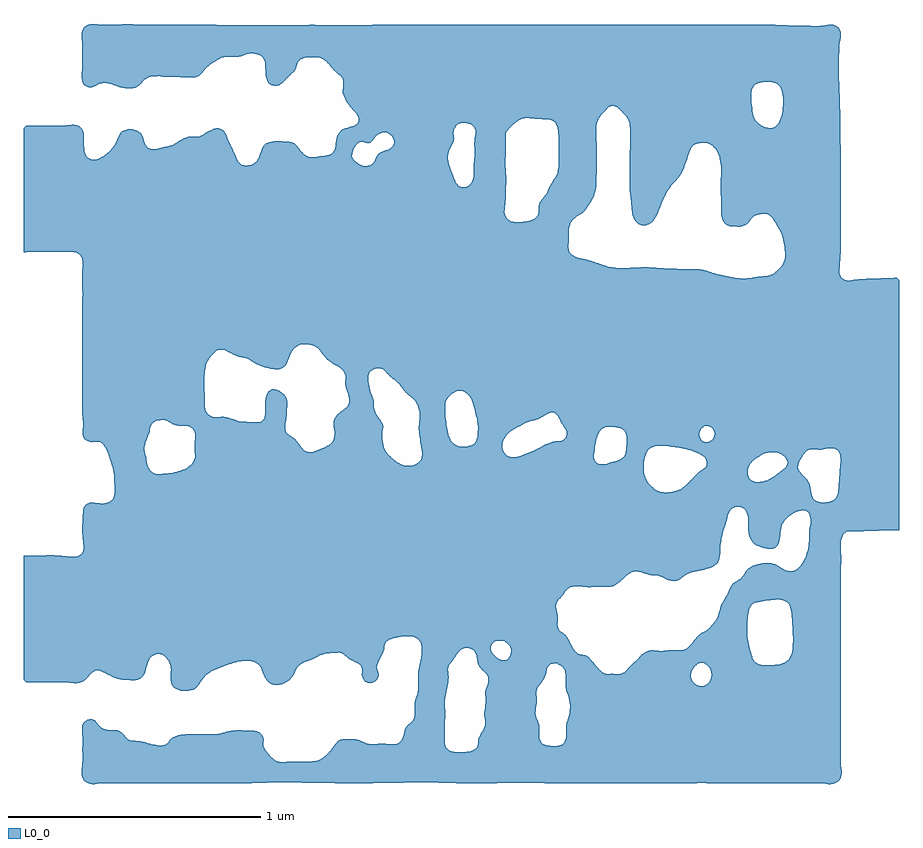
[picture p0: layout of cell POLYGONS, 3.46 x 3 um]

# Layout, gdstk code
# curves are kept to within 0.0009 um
import gdstk
lib = gdstk.Library(unit=1e-6, precision=1e-09)
def R(c, l, rs):  # rectangles x0, y0, x1, y1
    for r in rs: c.add(gdstk.rectangle(r[:2], r[2:], *l))
def P(c, l, *ps):  # polygons
    for p in ps: c.add(gdstk.Polygon(p, *l))
L0_0 = (0, 0)

polygons = lib.new_cell('POLYGONS')
R(polygons, L0_0, [(-1.03,-0.8,-0.84,-0.25), (-0.84,-0.8,-0.69,-0.25), (-0.69,-0.8,-0.51,-0.25), (-0.51,-0.8,-0.369,-0.25), (-0.369,-0.8,-0.221,-0.25), (-0.221,-0.8,-0.05,-0.25), (-0.05,-0.8,0.08,-0.25), (0.08,-0.8,0.25,-0.25), (-0.05,-0.25,0.08,-0.17), (0.25,-0.25,0.385,-0.21), (-1.39,0.07,-1.22,0.62), (-1.22,0.07,-1.03,0.62), (-1.499,0.62,-1.39,0.76), (-1.39,0.62,-1.22,0.76), (-1.22,0.62,-1.03,0.76), (-1.03,0.62,-0.84,0.76), (-0.84,0.62,-0.69,0.76), (-0.69,0.62,-0.51,0.76), (-0.51,0.62,-0.369,0.76), (-0.369,0.62,-0.221,0.76), (-0.221,0.62,-0.05,0.76), (-0.05,0.62,0.08,0.76)])
P(polygons, L0_0, [(-1.499,1.476),(-1.5,1.474),(-1.501,1.47),(-1.502,1.46),(-1.502,1.45),(-1.501,1.44),(-1.5,1.434),(-1.5,1.43),(-1.499,1.425)],
  [(-1.499,1.382),(-1.499,1.38),(-1.5,1.37),(-1.5,1.32),(-1.501,1.31),(-1.501,1.29),(-1.5,1.279),(-1.499,1.276)],
  [(-1.72,0.599),(-1.71,0.6),(-1.6,0.6),(-1.59,0.599),(-1.53,0.6),(-1.52,0.597),(-1.51,0.592),(-1.502,0.58),(-1.499,0.571),(-1.499,1.085),(-1.51,1.097),(-1.515,1.1),(-1.53,1.104),(-1.59,1.099),(-1.72,1.1),(-1.73,1.09),(-1.73,0.6)],
  [(-1.499,0.524),(-1.499,0.52),(-1.5,0.51),(-1.5,0.508),(-1.5,0.5),(-1.5,0.49),(-1.5,0.486),(-1.5,0.48),(-1.499,0.472)],
  [(-1.5,0.05),(-1.5,-0.021),(-1.499,-0.03),(-1.499,-0.032),(-1.499,0.29),(-1.499,0.27),(-1.5,0.26)],
  [(-1.499,-0.48),(-1.499,-0.48),(-1.5,-0.49),(-1.5,-0.5),(-1.499,-0.51),(-1.499,-0.51)],
  [(-1.72,-1.1),(-1.58,-1.099),(-1.52,-1.104),(-1.499,-1.098),(-1.499,-0.589),(-1.512,-0.6),(-1.52,-0.603),(-1.53,-0.604),(-1.61,-0.598),(-1.73,-0.6),(-1.73,-1.09)],
  [(-1.499,-1.275),(-1.5,-1.279),(-1.5,-1.28),(-1.5,-1.29),(-1.5,-1.293),(-1.5,-1.3),(-1.499,-1.303)],
  [(-1.499,-1.427),(-1.499,-1.43),(-1.5,-1.434),(-1.501,-1.44),(-1.502,-1.45),(-1.502,-1.46),(-1.501,-1.47),(-1.5,-1.473),(-1.499,-1.475)],
  [(-1.46,1.252),(-1.45,1.255),(-1.43,1.266),(-1.41,1.269),(-1.39,1.266),(-1.39,1.499),(-1.42,1.499),(-1.45,1.502),(-1.47,1.501),(-1.48,1.498),(-1.49,1.492),(-1.498,1.48),(-1.499,1.476),(-1.499,1.276),(-1.498,1.27),(-1.49,1.259),(-1.48,1.253),(-1.47,1.251)],
  [(-1.39,1),(-1.41,0.983),(-1.43,0.971),(-1.44,0.967),(-1.45,0.965),(-1.46,0.965),(-1.472,0.97),(-1.48,0.976),(-1.488,0.99),(-1.491,1),(-1.493,1.02),(-1.493,1.06),(-1.494,1.07),(-1.499,1.085),(-1.499,0.76),(-1.39,0.76)],
  [(-1.39,0.62),(-1.499,0.62),(-1.498,0.56),(-1.499,0.53),(-1.498,0.44),(-1.499,0.42),(-1.499,0.07),(-1.39,0.07)],
  [(-1.399,-0.19),(-1.39,-0.215),(-1.39,0.07),(-1.499,0.07),(-1.499,-0.04),(-1.496,-0.07),(-1.496,-0.09),(-1.498,-0.11),(-1.495,-0.13),(-1.489,-0.14),(-1.48,-0.146),(-1.47,-0.15),(-1.46,-0.151),(-1.44,-0.149),(-1.43,-0.15),(-1.42,-0.156),(-1.41,-0.168)],
  [(-1.39,-0.386),(-1.4,-0.391),(-1.42,-0.394),(-1.46,-0.389),(-1.47,-0.391),(-1.48,-0.395),(-1.487,-0.4),(-1.493,-0.41),(-1.497,-0.44),(-1.499,-0.48),(-1.499,-0.51),(-1.494,-0.56),(-1.495,-0.58),(-1.499,-0.589),(-1.499,-0.8),(-1.39,-0.8)],
  [(-1.49,-1.092),(-1.477,-1.08),(-1.46,-1.061),(-1.45,-1.055),(-1.44,-1.053),(-1.42,-1.058),(-1.39,-1.073),(-1.39,-0.8),(-1.499,-0.8),(-1.499,-1.098)],
  [(-1.45,-1.502),(-1.42,-1.499),(-1.39,-1.499),(-1.39,-1.289),(-1.41,-1.286),(-1.42,-1.282),(-1.43,-1.274),(-1.44,-1.261),(-1.45,-1.251),(-1.46,-1.247),(-1.47,-1.247),(-1.48,-1.249),(-1.49,-1.256),(-1.494,-1.26),(-1.499,-1.27),(-1.498,-1.32),(-1.499,-1.475),(-1.498,-1.48),(-1.491,-1.49),(-1.48,-1.498),(-1.47,-1.501)],
  [(-1.3,1.249),(-1.293,1.25),(-1.28,1.255),(-1.27,1.263),(-1.255,1.28),(-1.24,1.29),(-1.23,1.294),(-1.22,1.295),(-1.22,1.5),(-1.34,1.501),(-1.39,1.499),(-1.39,1.266),(-1.36,1.255),(-1.34,1.25),(-1.31,1.248)],
  [(-1.22,1.007),(-1.23,1.008),(-1.235,1.01),(-1.247,1.02),(-1.25,1.024),(-1.256,1.04),(-1.261,1.06),(-1.267,1.07),(-1.281,1.08),(-1.3,1.085),(-1.31,1.086),(-1.32,1.085),(-1.33,1.083),(-1.34,1.078),(-1.348,1.07),(-1.367,1.03),(-1.373,1.02),(-1.39,1),(-1.39,0.76),(-1.22,0.76)],
  [(-1.253,-0.17),(-1.249,-0.15),(-1.233,-0.11),(-1.23,-0.09),(-1.225,-0.08),(-1.22,-0.075),(-1.22,0.07),(-1.39,0.07),(-1.39,-0.18),(-1.253,-0.18)],
  [(-1.22,-0.272),(-1.23,-0.264),(-1.239,-0.25),(-1.242,-0.24),(-1.253,-0.18),(-1.39,-0.18),(-1.39,-0.215),(-1.374,-0.27),(-1.37,-0.34),(-1.372,-0.36),(-1.375,-0.37),(-1.38,-0.378),(-1.39,-0.386),(-1.39,-0.8),(-1.22,-0.8)],
  [(-1.29,-1.091),(-1.28,-1.09),(-1.27,-1.086),(-1.26,-1.077),(-1.255,-1.07),(-1.251,-1.06),(-1.24,-1.02),(-1.23,-1.003),(-1.22,-0.995),(-1.22,-0.8),(-1.39,-0.8),(-1.39,-1.073),(-1.37,-1.083),(-1.35,-1.088),(-1.3,-1.092)],
  [(-1.32,-1.5),(-1.22,-1.499),(-1.22,-1.346),(-1.26,-1.335),(-1.3,-1.332),(-1.31,-1.33),(-1.32,-1.325),(-1.33,-1.315),(-1.34,-1.302),(-1.35,-1.294),(-1.36,-1.29),(-1.39,-1.289),(-1.39,-1.499)],
  [(-1.2,1.296),(-1.17,1.293),(-1.12,1.293),(-1.06,1.29),(-1.05,1.291),(-1.04,1.295),(-1.03,1.304),(-1.03,1.499),(-1.04,1.5),(-1.22,1.5),(-1.22,1.295)],
  [(-1.03,1.06),(-1.04,1.057),(-1.05,1.056),(-1.07,1.057),(-1.08,1.056),(-1.1,1.049),(-1.14,1.024),(-1.194,1.01),(-1.21,1.007),(-1.22,1.007),(-1.22,0.76),(-1.03,0.76)],
  [(-1.21,-0.068),(-1.2,-0.065),(-1.18,-0.063),(-1.17,-0.065),(-1.16,-0.069),(-1.141,-0.08),(-1.13,-0.084),(-1.12,-0.086),(-1.08,-0.087),(-1.07,-0.091),(-1.06,-0.101),(-1.055,-0.11),(-1.053,-0.12),(-1.053,-0.14),(-1.055,-0.16),(-1.053,-0.21),(-1.06,-0.23),(-1.07,-0.242),(-1.09,-0.255),(-1.11,-0.263),(-1.13,-0.269),(-1.17,-0.276),(-1.2,-0.277),(-1.21,-0.276),(-1.22,-0.272),(-1.22,-0.8),(-1.03,-0.8),(-1.03,0.07),(-1.22,0.07),(-1.22,-0.075)],
  [(-1.208,-0.99),(-1.2,-0.988),(-1.19,-0.989),(-1.18,-0.992),(-1.17,-1),(-1.156,-1.02),(-1.149,-1.04),(-1.148,-1.05),(-1.15,-1.07),(-1.15,-1.09),(-1.145,-1.11),(-1.138,-1.12),(-1.13,-1.126),(-1.12,-1.13),(-1.11,-1.133),(-1.1,-1.134),(-1.07,-1.132),(-1.06,-1.129),(-1.047,-1.12),(-1.038,-1.11),(-1.03,-1.098),(-1.03,-0.8),(-1.22,-0.8),(-1.22,-0.995)],
  [(-1.03,-1.305),(-1.09,-1.306),(-1.12,-1.31),(-1.14,-1.317),(-1.154,-1.33),(-1.162,-1.34),(-1.17,-1.346),(-1.18,-1.349),(-1.19,-1.35),(-1.22,-1.346),(-1.22,-1.499),(-1.03,-1.5)],
  [(-1.025,1.31),(-1.008,1.33),(-1,1.337),(-0.98,1.351),(-0.95,1.368),(-0.93,1.373),(-0.91,1.372),(-0.88,1.373),(-0.87,1.375),(-0.85,1.383),(-0.84,1.385),(-0.84,1.497),(-1.03,1.499),(-1.03,1.304)],
  [(-0.84,0.943),(-0.85,0.942),(-0.86,0.943),(-0.87,0.946),(-0.884,0.96),(-0.897,0.99),(-0.917,1.03),(-0.928,1.06),(-0.94,1.08),(-0.95,1.086),(-0.96,1.089),(-0.97,1.089),(-0.98,1.087),(-1,1.078),(-1.03,1.06),(-1.03,0.76),(-0.84,0.76)],
  [(-1.016,0.09),(-1.015,0.13),(-1.01,0.155),(-1,0.176),(-0.98,0.201),(-0.97,0.21),(-0.96,0.214),(-0.95,0.215),(-0.94,0.214),(-0.89,0.19),(-0.87,0.184),(-0.85,0.181),(-0.84,0.176),(-0.84,0.62),(-1.03,0.62),(-1.03,0.07),(-1.016,0.07)],
  [(-0.84,-0.072),(-0.86,-0.071),(-0.88,-0.068),(-0.93,-0.052),(-0.94,-0.051),(-0.97,-0.053),(-0.98,-0.052),(-0.99,-0.049),(-1,-0.042),(-1.01,-0.028),(-1.015,-0.01),(-1.016,0.07),(-1.03,0.07),(-1.03,-0.25),(-0.84,-0.25)],
  [(-1.025,-1.09),(-1.008,-1.07),(-0.99,-1.057),(-0.976,-1.05),(-0.93,-1.032),(-0.88,-1.017),(-0.85,-1.014),(-0.84,-1.015),(-0.84,-0.8),(-1.03,-0.8),(-1.03,-1.098)],
  [(-0.97,-1.5),(-0.84,-1.499),(-0.84,-1.291),(-0.89,-1.29),(-0.91,-1.292),(-0.93,-1.296),(-0.95,-1.302),(-0.97,-1.305),(-1.03,-1.305),(-1.03,-1.5)],
  [(-0.82,1.385),(-0.8,1.38),(-0.79,1.374),(-0.779,1.36),(-0.776,1.35),(-0.774,1.31),(-0.77,1.285),(-0.76,1.266),(-0.75,1.259),(-0.74,1.257),(-0.73,1.257),(-0.72,1.26),(-0.71,1.267),(-0.69,1.287),(-0.69,1.497),(-0.84,1.497),(-0.84,1.385),(-0.83,1.386)],
  [(-0.69,1.036),(-0.73,1.039),(-0.75,1.037),(-0.76,1.035),(-0.77,1.031),(-0.78,1.022),(-0.787,1.01),(-0.803,0.97),(-0.81,0.96),(-0.821,0.95),(-0.84,0.943),(-0.84,0.76),(-0.69,0.76)],
  [(-0.72,0.138),(-0.7,0.148),(-0.69,0.162),(-0.69,0.62),(-0.84,0.62),(-0.84,0.176),(-0.82,0.163),(-0.79,0.149),(-0.77,0.143),(-0.74,0.137)],
  [(-0.69,-0.115),(-0.694,-0.11),(-0.697,-0.1),(-0.697,-0.09),(-0.691,-0.04),(-0.69,0.02),(-0.7,0.036),(-0.72,0.052),(-0.74,0.059),(-0.75,0.058),(-0.76,0.051),(-0.768,0.04),(-0.772,0.03),(-0.774,0.02),(-0.775,-0.03),(-0.777,-0.05),(-0.781,-0.06),(-0.79,-0.068),(-0.8,-0.072),(-0.81,-0.073),(-0.84,-0.072),(-0.84,-0.25),(-0.69,-0.25)],
  [(-0.72,-1.11),(-0.71,-1.107),(-0.69,-1.098),(-0.69,-0.8),(-0.84,-0.8),(-0.84,-1.015),(-0.82,-1.019),(-0.81,-1.024),(-0.8,-1.032),(-0.79,-1.047),(-0.777,-1.08),(-0.77,-1.091),(-0.76,-1.101),(-0.742,-1.11),(-0.73,-1.111)],
  [(-0.83,-1.499),(-0.74,-1.495),(-0.69,-1.495),(-0.69,-1.415),(-0.7,-1.416),(-0.72,-1.415),(-0.734,-1.41),(-0.75,-1.398),(-0.78,-1.36),(-0.783,-1.35),(-0.782,-1.33),(-0.784,-1.32),(-0.79,-1.307),(-0.8,-1.298),(-0.81,-1.294),(-0.82,-1.292),(-0.84,-1.291),(-0.84,-1.499)],
  [(-0.687,1.29),(-0.66,1.318),(-0.654,1.33),(-0.648,1.35),(-0.639,1.36),(-0.62,1.368),(-0.6,1.371),(-0.57,1.371),(-0.56,1.369),(-0.54,1.358),(-0.52,1.339),(-0.51,1.327),(-0.51,1.498),(-0.6,1.499),(-0.69,1.497),(-0.69,1.287)],
  [(-0.57,0.978),(-0.59,0.975),(-0.6,0.976),(-0.611,0.98),(-0.625,0.99),(-0.66,1.029),(-0.67,1.034),(-0.68,1.036),(-0.69,1.036),(-0.69,0.76),(-0.51,0.76),(-0.51,0.992),(-0.52,0.986),(-0.53,0.983)],
  [(-0.679,0.19),(-0.669,0.21),(-0.66,0.222),(-0.65,0.229),(-0.64,0.234),(-0.63,0.236),(-0.61,0.237),(-0.59,0.233),(-0.57,0.223),(-0.56,0.213),(-0.535,0.18),(-0.53,0.175),(-0.51,0.161),(-0.51,0.62),(-0.69,0.62),(-0.69,0.162)],
  [(-0.69,-0.02),(-0.689,-0.01),(-0.688,0),(-0.688,0.01),(-0.69,0.018),(-0.69,-0.022)],
  [(-0.51,-0.151),(-0.52,-0.161),(-0.538,-0.17),(-0.58,-0.187),(-0.59,-0.19),(-0.6,-0.191),(-0.61,-0.189),(-0.625,-0.18),(-0.66,-0.138),(-0.67,-0.129),(-0.685,-0.12),(-0.69,-0.115),(-0.69,-0.25),(-0.51,-0.25)],
  [(-0.68,-1.091),(-0.67,-1.08),(-0.664,-1.07),(-0.656,-1.05),(-0.65,-1.04),(-0.64,-1.03),(-0.62,-1.019),(-0.594,-1.01),(-0.56,-0.994),(-0.54,-0.988),(-0.51,-0.984),(-0.51,-0.8),(-0.69,-0.8),(-0.69,-1.098)],
  [(-0.51,-1.36),(-0.517,-1.37),(-0.536,-1.39),(-0.549,-1.4),(-0.57,-1.41),(-0.6,-1.414),(-0.69,-1.415),(-0.69,-1.495),(-0.63,-1.497),(-0.51,-1.498)],
  [(-0.457,1.2),(-0.444,1.18),(-0.417,1.15),(-0.41,1.14),(-0.407,1.13),(-0.407,1.12),(-0.411,1.11),(-0.42,1.102),(-0.47,1.085),(-0.477,1.08),(-0.486,1.07),(-0.491,1.06),(-0.494,1.05),(-0.5,1.01),(-0.504,1),(-0.51,0.992),(-0.51,0.98),(-0.433,0.98),(-0.43,1),(-0.42,1.019),(-0.41,1.03),(-0.4,1.036),(-0.39,1.037),(-0.369,1.03),(-0.369,1.498),(-0.51,1.498),(-0.51,1.327),(-0.5,1.315),(-0.48,1.299),(-0.47,1.286),(-0.467,1.27),(-0.469,1.23),(-0.466,1.22)],
  [(-0.369,0.941),(-0.376,0.94),(-0.39,0.941),(-0.409,0.95),(-0.422,0.96),(-0.43,0.97),(-0.433,0.98),(-0.51,0.98),(-0.51,0.76),(-0.369,0.76)],
  [(-0.46,0.08),(-0.456,0.06),(-0.445,0.03),(-0.443,0.02),(-0.443,0.01),(-0.446,0),(-0.452,-0.01),(-0.49,-0.04),(-0.502,-0.06),(-0.505,-0.08),(-0.501,-0.11),(-0.501,-0.12),(-0.504,-0.14),(-0.51,-0.151),(-0.51,-0.25),(-0.369,-0.25),(-0.369,0.62),(-0.51,0.62),(-0.51,0.161),(-0.48,0.143),(-0.466,0.13),(-0.46,0.118),(-0.458,0.11)],
  [(-0.49,-0.984),(-0.48,-0.984),(-0.47,-0.987),(-0.44,-1.01),(-0.41,-1.024),(-0.401,-1.03),(-0.394,-1.04),(-0.392,-1.05),(-0.394,-1.07),(-0.39,-1.083),(-0.38,-1.097),(-0.369,-1.102),(-0.369,-0.8),(-0.51,-0.8),(-0.51,-0.984)],
  [(-0.4,-1.499),(-0.369,-1.499),(-0.369,-1.343),(-0.402,-1.33),(-0.43,-1.325),(-0.47,-1.326),(-0.48,-1.328),(-0.49,-1.333),(-0.51,-1.36),(-0.51,-1.498),(-0.5,-1.499)],
  [(-0.221,1.5),(-0.369,1.498),(-0.369,1.21),(-0.221,1.21)],
  [(-0.343,0.96),(-0.35,0.95),(-0.36,0.944),(-0.369,0.941),(-0.369,0.76),(-0.221,0.76),(-0.221,1.21),(-0.369,1.21),(-0.369,1.03),(-0.36,1.032),(-0.352,1.04),(-0.34,1.057),(-0.33,1.066),(-0.32,1.071),(-0.31,1.074),(-0.3,1.074),(-0.29,1.07),(-0.276,1.06),(-0.269,1.05),(-0.266,1.04),(-0.266,1.03),(-0.27,1.02),(-0.279,1.01),(-0.29,1.005),(-0.31,1),(-0.32,0.996),(-0.328,0.99),(-0.335,0.98)],
  [(-0.36,0.129),(-0.35,0.136),(-0.341,0.14),(-0.33,0.142),(-0.32,0.141),(-0.31,0.137),(-0.28,0.107),(-0.257,0.09),(-0.247,0.08),(-0.221,0.046),(-0.221,0.62),(-0.369,0.62),(-0.369,0.11),(-0.366,0.12)],
  [(-0.221,-0.244),(-0.23,-0.242),(-0.25,-0.233),(-0.268,-0.22),(-0.29,-0.2),(-0.304,-0.18),(-0.308,-0.17),(-0.313,-0.14),(-0.313,-0.11),(-0.31,-0.09),(-0.312,-0.08),(-0.317,-0.07),(-0.33,-0.052),(-0.34,-0.034),(-0.346,-0.01),(-0.346,0.01),(-0.363,0.06),(-0.369,0.099),(-0.369,-0.25),(-0.221,-0.25)],
  [(-0.35,-1.101),(-0.34,-1.095),(-0.335,-1.09),(-0.33,-1.081),(-0.328,-1.07),(-0.335,-1.04),(-0.333,-1.03),(-0.33,-1.02),(-0.309,-0.98),(-0.306,-0.97),(-0.303,-0.95),(-0.3,-0.944),(-0.29,-0.934),(-0.28,-0.929),(-0.26,-0.923),(-0.24,-0.919),(-0.221,-0.918),(-0.221,-0.8),(-0.369,-0.8),(-0.369,-1.102),(-0.36,-1.103)],
  [(-0.36,-1.499),(-0.221,-1.496),(-0.221,-1.28),(-0.23,-1.314),(-0.236,-1.33),(-0.25,-1.341),(-0.26,-1.344),(-0.27,-1.345),(-0.31,-1.342),(-0.34,-1.344),(-0.369,-1.343),(-0.369,-1.499)],
  [(-0.05,1.5),(-0.06,1.5),(-0.07,1.5),(-0.08,1.5),(-0.09,1.5),(-0.1,1.5),(-0.11,1.5),(-0.12,1.5),(-0.13,1.5),(-0.14,1.5),(-0.15,1.5),(-0.16,1.5),(-0.17,1.5),(-0.18,1.5),(-0.19,1.5),(-0.2,1.5),(-0.21,1.5),(-0.22,1.5),(-0.221,1.5),(-0.221,1.21),(-0.05,1.21)],
  [(-0.055,0.98),(-0.053,0.99),(-0.05,0.999),(-0.05,1.21),(-0.221,1.21),(-0.221,0.97),(-0.055,0.97)],
  [(-0.05,0.948),(-0.051,0.95),(-0.053,0.96),(-0.055,0.97),(-0.221,0.97),(-0.221,0.76),(-0.05,0.76)],
  [(-0.166,-0.04),(-0.168,-0.09),(-0.167,-0.12),(-0.156,-0.19),(-0.157,-0.21),(-0.16,-0.22),(-0.17,-0.232),(-0.19,-0.242),(-0.21,-0.245),(-0.221,-0.244),(-0.221,-0.25),(-0.05,-0.25),(-0.05,-0.128),(-0.057,-0.1),(-0.064,-0.05),(-0.065,-0.03),(-0.065,0),(-0.063,0.01),(-0.05,0.029),(-0.05,0.62),(-0.221,0.62),(-0.221,0.046),(-0.19,0.02),(-0.18,0.009),(-0.174,0),(-0.17,-0.01),(-0.166,-0.03)],
  [(-0.067,-1.27),(-0.065,-1.24),(-0.066,-1.17),(-0.065,-1.16),(-0.056,-1.12),(-0.051,-1.08),(-0.054,-1.05),(-0.053,-1.04),(-0.05,-1.035),(-0.05,-0.8),(-0.221,-0.8),(-0.221,-0.918),(-0.2,-0.918),(-0.18,-0.923),(-0.17,-0.93),(-0.163,-0.94),(-0.16,-0.946),(-0.157,-0.96),(-0.159,-1),(-0.169,-1.05),(-0.171,-1.07),(-0.17,-1.123),(-0.175,-1.15),(-0.18,-1.163),(-0.184,-1.18),(-0.185,-1.23),(-0.19,-1.25),(-0.2,-1.26),(-0.213,-1.27),(-0.221,-1.28),(-0.067,-1.28)],
  [(-0.05,-1.368),(-0.059,-1.36),(-0.064,-1.35),(-0.066,-1.34),(-0.067,-1.28),(-0.221,-1.28),(-0.221,-1.496),(-0.1,-1.496),(-0.05,-1.498)],
  [(0.08,1.499),(-0.05,1.5),(-0.05,1.21),(0.08,1.21)],
  [(-0.045,1.01),(-0.03,1.04),(-0.029,1.05),(-0.032,1.07),(-0.031,1.08),(-0.027,1.09),(-0.02,1.101),(-0.01,1.108),(0,1.111),(0.022,1.11),(0.04,1.104),(0.045,1.1),(0.053,1.09),(0.056,1.08),(0.057,1.07),(0.053,1.05),(0.051,1.03),(0.052,0.98),(0.049,0.95),(0.049,0.91),(0.046,0.89),(0.043,0.88),(0.037,0.87),(0.024,0.86),(0.01,0.856),(0,0.856),(-0.01,0.861),(-0.02,0.872),(-0.024,0.88),(-0.05,0.948),(-0.05,0.76),(0.08,0.76),(0.08,1.21),(-0.05,1.21),(-0.05,0.999)],
  [(-0.04,0.038),(-0.02,0.05),(-0.01,0.052),(0,0.052),(0.01,0.049),(0.02,0.043),(0.03,0.033),(0.043,0.01),(0.052,-0.02),(0.062,-0.06),(0.065,-0.08),(0.066,-0.1),(0.064,-0.13),(0.06,-0.144),(0.057,-0.15),(0.047,-0.16),(0.04,-0.164),(0.02,-0.168),(0,-0.168),(-0.01,-0.167),(-0.02,-0.164),(-0.03,-0.158),(-0.039,-0.15),(-0.05,-0.128),(-0.05,-0.17),(0.08,-0.17),(0.08,0.62),(-0.05,0.62),(-0.05,0.029)],
  [(0.053,-0.98),(0.058,-0.99),(0.061,-1),(0.062,-1.01),(0.067,-1.03),(0.072,-1.04),(0.08,-1.049),(0.08,-0.8),(-0.05,-0.8),(-0.05,-1.035),(-0.048,-1.03),(-0.011,-0.98),(0,-0.969),(0.01,-0.965),(0.02,-0.964),(0.03,-0.965),(0.042,-0.97),(0.05,-0.976)],
  [(0.03,-1.499),(0.08,-1.499),(0.08,-1.298),(0.069,-1.32),(0.064,-1.35),(0.06,-1.358),(0.043,-1.37),(0.03,-1.374),(-0.01,-1.377),(-0.03,-1.375),(-0.05,-1.368),(-0.05,-1.498)],
  [(0.25,1.5),(0.08,1.499),(0.08,1.21),(0.25,1.21)],
  [(0.17,0.77),(0.173,0.79),(0.174,0.85),(0.176,0.87),(0.176,0.9),(0.173,0.94),(0.173,0.97),(0.175,1),(0.174,1.05),(0.175,1.07),(0.179,1.08),(0.188,1.09),(0.22,1.118),(0.23,1.124),(0.24,1.128),(0.25,1.13),(0.25,1.21),(0.08,1.21),(0.08,0.76),(0.169,0.76)],
  [(0.25,0.721),(0.24,0.719),(0.21,0.719),(0.2,0.721),(0.19,0.725),(0.182,0.73),(0.174,0.74),(0.17,0.75),(0.169,0.76),(0.08,0.76),(0.08,0.62),(0.25,0.62)],
  [(0.161,-0.16),(0.163,-0.15),(0.167,-0.14),(0.18,-0.12),(0.19,-0.11),(0.22,-0.092),(0.25,-0.077),(0.25,0.62),(0.08,0.62),(0.08,-0.17),(0.161,-0.17)],
  [(0.2,-0.211),(0.19,-0.209),(0.175,-0.2),(0.167,-0.19),(0.163,-0.18),(0.161,-0.17),(0.08,-0.17),(0.08,-0.25),(0.25,-0.25),(0.25,-0.199),(0.22,-0.209)],
  [(0.09,-1.23),(0.094,-1.26),(0.093,-1.27),(0.09,-1.28),(0.08,-1.298),(0.08,-1.499),(0.25,-1.498),(0.25,-0.8),(0.08,-0.8),(0.08,-0.97),(0.115,-0.97),(0.115,-0.96),(0.12,-0.95),(0.13,-0.94),(0.14,-0.936),(0.15,-0.935),(0.16,-0.935),(0.17,-0.938),(0.18,-0.945),(0.19,-0.956),(0.196,-0.97),(0.196,-0.98),(0.194,-0.99),(0.19,-1),(0.18,-1.01),(0.17,-1.013),(0.16,-1.012),(0.136,-1),(0.118,-0.98),(0.115,-0.97),(0.08,-0.97),(0.08,-1.049),(0.101,-1.07),(0.105,-1.08),(0.106,-1.09),(0.103,-1.11),(0.096,-1.13),(0.094,-1.14),(0.096,-1.18),(0.091,-1.21)],
  [(0.385,1.5),(0.38,1.5),(0.35,1.5),(0.34,1.5),(0.33,1.5),(0.32,1.5),(0.3,1.5),(0.29,1.5),(0.28,1.5),(0.27,1.5),(0.26,1.5),(0.25,1.5),(0.25,1.21),(0.385,1.21)],
  [(0.27,1.13),(0.34,1.125),(0.36,1.12),(0.37,1.113),(0.372,1.11),(0.38,1.091),(0.385,1.05),(0.385,0.95),(0.383,0.93),(0.379,0.91),(0.374,0.9),(0.354,0.87),(0.335,0.83),(0.312,0.8),(0.307,0.79),(0.305,0.78),(0.304,0.75),(0.3,0.743),(0.29,0.733),(0.28,0.728),(0.26,0.722),(0.25,0.721),(0.25,0.62),(0.385,0.62),(0.385,1.21),(0.25,1.21),(0.25,1.13),(0.26,1.131)],
  [(0.26,-0.072),(0.27,-0.068),(0.3,-0.061),(0.321,-0.05),(0.34,-0.038),(0.35,-0.034),(0.36,-0.033),(0.37,-0.036),(0.38,-0.046),(0.385,-0.055),(0.385,0.62),(0.25,0.62),(0.25,-0.077)],
  [(0.385,-0.147),(0.36,-0.15),(0.333,-0.16),(0.29,-0.182),(0.25,-0.199),(0.25,-0.21),(0.385,-0.21)],
  [(0.374,-0.79),(0.378,-0.78),(0.38,-0.777),(0.385,-0.771),(0.385,-0.25),(0.25,-0.25),(0.25,-0.8),(0.373,-0.8)],
  [(0.293,-1.21),(0.298,-1.17),(0.296,-1.15),(0.297,-1.13),(0.302,-1.12),(0.32,-1.096),(0.33,-1.08),(0.339,-1.04),(0.35,-1.029),(0.36,-1.026),(0.37,-1.025),(0.38,-1.027),(0.385,-1.03),(0.385,-0.892),(0.38,-0.88),(0.379,-0.87),(0.381,-0.85),(0.38,-0.838),(0.373,-0.8),(0.25,-0.8),(0.25,-1.22),(0.292,-1.22)],
  [(0.385,-1.35),(0.37,-1.352),(0.34,-1.35),(0.33,-1.347),(0.32,-1.342),(0.311,-1.33),(0.308,-1.32),(0.307,-1.27),(0.301,-1.25),(0.296,-1.24),(0.293,-1.23),(0.292,-1.22),(0.25,-1.22),(0.25,-1.498),(0.385,-1.499)],
  [(0.531,1.499),(0.385,1.5),(0.385,1.21),(0.531,1.21)],
  [(0.422,0.63),(0.424,0.65),(0.423,0.69),(0.425,0.7),(0.43,0.713),(0.442,0.73),(0.454,0.74),(0.48,0.756),(0.49,0.766),(0.5,0.781),(0.522,0.82),(0.531,0.85),(0.531,1.21),(0.385,1.21),(0.385,0.62),(0.422,0.62)],
  [(0.522,-0.2),(0.531,-0.152),(0.531,0.559),(0.498,0.57),(0.455,0.58),(0.44,0.587),(0.435,0.59),(0.426,0.6),(0.423,0.61),(0.422,0.62),(0.385,0.62),(0.385,-0.055),(0.4,-0.082),(0.412,-0.1),(0.416,-0.11),(0.417,-0.12),(0.414,-0.13),(0.406,-0.14),(0.4,-0.144),(0.39,-0.147),(0.385,-0.147),(0.385,-0.21),(0.522,-0.21)],
  [(0.531,-0.229),(0.53,-0.229),(0.525,-0.22),(0.522,-0.21),(0.385,-0.21),(0.385,-0.25),(0.531,-0.25)],
  [(0.386,-0.77),(0.396,-0.76),(0.41,-0.741),(0.42,-0.73),(0.43,-0.724),(0.45,-0.721),(0.47,-0.721),(0.5,-0.724),(0.531,-0.723),(0.531,-0.25),(0.385,-0.25),(0.385,-0.771)],
  [(0.412,-1.09),(0.413,-1.12),(0.417,-1.14),(0.424,-1.16),(0.428,-1.18),(0.429,-1.2),(0.427,-1.22),(0.415,-1.27),(0.414,-1.32),(0.411,-1.33),(0.404,-1.34),(0.4,-1.344),(0.39,-1.349),(0.385,-1.35),(0.385,-1.499),(0.531,-1.499),(0.531,-1.034),(0.5,-0.999),(0.49,-0.993),(0.48,-0.991),(0.47,-0.991),(0.46,-0.987),(0.451,-0.98),(0.443,-0.97),(0.431,-0.95),(0.416,-0.92),(0.41,-0.913),(0.39,-0.898),(0.385,-0.892),(0.385,-1.03),(0.4,-1.039),(0.408,-1.05),(0.411,-1.06)],
  [(0.667,1.499),(0.65,1.499),(0.64,1.499),(0.62,1.499),(0.61,1.499),(0.6,1.499),(0.59,1.499),(0.58,1.499),(0.57,1.499),(0.56,1.499),(0.55,1.499),(0.54,1.499),(0.531,1.499),(0.531,1.21),(0.667,1.21)],
  [(0.532,0.86),(0.535,0.93),(0.535,1.01),(0.532,1.06),(0.532,1.09),(0.533,1.1),(0.538,1.12),(0.55,1.141),(0.58,1.172),(0.59,1.177),(0.6,1.178),(0.61,1.175),(0.619,1.17),(0.63,1.161),(0.657,1.13),(0.662,1.12),(0.665,1.11),(0.667,1.085),(0.667,1.21),(0.531,1.21),(0.531,0.85)],
  [(0.667,1.01),(0.666,1),(0.666,0.99),(0.665,0.98),(0.665,0.91),(0.666,0.9),(0.666,0.84),(0.667,0.835)],
  [(0.654,-0.14),(0.65,-0.19),(0.647,-0.2),(0.64,-0.211),(0.62,-0.223),(0.6,-0.228),(0.57,-0.238),(0.55,-0.239),(0.54,-0.236),(0.531,-0.229),(0.531,-0.25),(0.667,-0.25),(0.667,0.538),(0.62,0.537),(0.6,0.539),(0.58,0.543),(0.531,0.559),(0.531,-0.152),(0.533,-0.14),(0.539,-0.12),(0.55,-0.103),(0.56,-0.095),(0.57,-0.09),(0.58,-0.089),(0.6,-0.09),(0.62,-0.093),(0.63,-0.096),(0.64,-0.102),(0.647,-0.11),(0.65,-0.117)],
  [(0.59,-0.723),(0.6,-0.72),(0.616,-0.71),(0.629,-0.7),(0.662,-0.67),(0.667,-0.668),(0.667,-0.25),(0.531,-0.25),(0.531,-0.723),(0.55,-0.722)],
  [(0.667,-1.036),(0.65,-1.057),(0.64,-1.063),(0.62,-1.068),(0.6,-1.067),(0.58,-1.068),(0.57,-1.067),(0.557,-1.06),(0.55,-1.055),(0.531,-1.034),(0.531,-1.07),(0.667,-1.07)],
  [(0.667,-1.07),(0.531,-1.07),(0.531,-1.499),(0.667,-1.5)],
  [(0.844,1.5),(0.667,1.499),(0.667,1.21),(0.844,1.21)],
  [(0.73,0.706),(0.75,0.716),(0.762,0.73),(0.77,0.743),(0.778,0.76),(0.793,0.8),(0.808,0.83),(0.827,0.86),(0.844,0.88),(0.844,1.21),(0.667,1.21),(0.667,0.83),(0.675,0.75),(0.678,0.74),(0.683,0.73),(0.69,0.72),(0.7,0.711),(0.71,0.707),(0.72,0.705)],
  [(0.844,0.534),(0.79,0.536),(0.74,0.54),(0.667,0.538),(0.667,-0.12),(0.844,-0.12)],
  [(0.721,-0.24),(0.721,-0.23),(0.725,-0.21),(0.732,-0.19),(0.739,-0.18),(0.75,-0.172),(0.76,-0.168),(0.78,-0.165),(0.8,-0.165),(0.844,-0.17),(0.844,-0.12),(0.667,-0.12),(0.667,-0.25),(0.72,-0.25)],
  [(0.844,-0.699),(0.844,-0.344),(0.83,-0.348),(0.81,-0.35),(0.79,-0.348),(0.78,-0.345),(0.77,-0.34),(0.75,-0.326),(0.736,-0.31),(0.73,-0.3),(0.723,-0.28),(0.721,-0.27),(0.72,-0.25),(0.667,-0.25),(0.667,-0.668),(0.68,-0.663),(0.69,-0.662),(0.7,-0.663),(0.74,-0.674),(0.78,-0.679),(0.79,-0.682),(0.805,-0.69),(0.82,-0.696),(0.83,-0.699),(0.84,-0.7)],
  [(0.844,-0.973),(0.83,-0.973),(0.79,-0.977),(0.75,-0.974),(0.74,-0.976),(0.73,-0.98),(0.71,-0.994),(0.667,-1.036),(0.667,-1.07),(0.844,-1.07)],
  [(0.71,-1.5),(0.844,-1.499),(0.844,-1.07),(0.667,-1.07),(0.667,-1.5)],
  [(0.978,1.5),(0.97,1.5),(0.96,1.5),(0.95,1.5),(0.94,1.5),(0.93,1.5),(0.92,1.5),(0.91,1.5),(0.9,1.5),(0.89,1.5),(0.88,1.5),(0.87,1.5),(0.86,1.5),(0.85,1.5),(0.844,1.5),(0.844,1.21),(0.978,1.21)],
  [(0.85,0.887),(0.868,0.91),(0.878,0.93),(0.889,0.96),(0.9,0.996),(0.906,1.01),(0.91,1.015),(0.92,1.024),(0.93,1.029),(0.96,1.033),(0.97,1.032),(0.978,1.029),(0.978,1.21),(0.844,1.21),(0.844,0.88)],
  [(0.94,-0.117),(0.941,-0.11),(0.95,-0.095),(0.96,-0.088),(0.97,-0.085),(0.978,-0.087),(0.978,0.523),(0.96,0.529),(0.93,0.533),(0.88,0.532),(0.844,0.534),(0.844,-0.12),(0.94,-0.12)],
  [(0.927,-0.28),(0.91,-0.299),(0.889,-0.32),(0.88,-0.327),(0.87,-0.334),(0.844,-0.344),(0.844,-0.699),(0.85,-0.699),(0.86,-0.694),(0.88,-0.678),(0.894,-0.67),(0.91,-0.665),(0.96,-0.655),(0.978,-0.65),(0.978,-0.15),(0.97,-0.152),(0.96,-0.151),(0.95,-0.145),(0.941,-0.13),(0.94,-0.12),(0.844,-0.12),(0.844,-0.17),(0.9,-0.181),(0.93,-0.192),(0.95,-0.202),(0.96,-0.209),(0.968,-0.22),(0.97,-0.232),(0.969,-0.24),(0.965,-0.25),(0.94,-0.268)],
  [(0.961,-0.9),(0.95,-0.905),(0.94,-0.912),(0.93,-0.922),(0.91,-0.948),(0.89,-0.967),(0.88,-0.972),(0.87,-0.974),(0.844,-0.973),(0.844,-1.07),(0.907,-1.07),(0.91,-1.057),(0.92,-1.038),(0.93,-1.029),(0.94,-1.025),(0.95,-1.023),(0.96,-1.025),(0.97,-1.03),(0.978,-1.038),(0.978,-0.888),(0.97,-0.895)],
  [(0.85,-1.499),(0.94,-1.498),(0.978,-1.499),(0.978,-1.102),(0.968,-1.11),(0.95,-1.115),(0.94,-1.114),(0.93,-1.111),(0.92,-1.104),(0.91,-1.091),(0.907,-1.08),(0.907,-1.07),(0.844,-1.07),(0.844,-1.499)],
  [(1.128,1.5),(1.12,1.5),(1.11,1.5),(1.1,1.5),(1.1,1.5),(1.09,1.5),(1.08,1.5),(1.07,1.5),(1.06,1.5),(1.05,1.5),(1.04,1.5),(1.03,1.5),(1.02,1.5),(1.01,1.5),(1,1.5),(0.99,1.5),(0.98,1.5),(0.978,1.5),(0.978,1.21),(1.128,1.21)],
  [(1.1,0.701),(1.12,0.706),(1.128,0.711),(1.128,1.21),(0.978,1.21),(0.978,1.029),(0.993,1.02),(1.003,1.01),(1.01,1),(1.019,0.98),(1.025,0.95),(1.026,0.9),(1.024,0.85),(1.026,0.82),(1.026,0.76),(1.03,0.734),(1.04,0.714),(1.05,0.706),(1.06,0.703)],
  [(1.128,0.496),(1.11,0.496),(1.08,0.499),(1.05,0.504),(1.01,0.513),(0.978,0.523),(0.978,-0.087),(0.98,-0.087),(0.99,-0.094),(1.001,-0.11),(1.001,-0.12),(0.999,-0.13),(0.99,-0.143),(0.98,-0.15),(0.978,-0.15),(0.978,-0.27),(1.128,-0.27)],
  [(0.98,-0.649),(1,-0.64),(1.01,-0.63),(1.016,-0.62),(1.021,-0.6),(1.023,-0.58),(1.022,-0.57),(1.027,-0.53),(1.053,-0.44),(1.062,-0.42),(1.07,-0.413),(1.08,-0.408),(1.1,-0.407),(1.111,-0.41),(1.12,-0.416),(1.128,-0.43),(1.128,-0.27),(0.978,-0.27),(0.978,-0.65)],
  [(1.128,-0.658),(1.11,-0.683),(1.103,-0.69),(1.087,-0.7),(1.07,-0.713),(1.06,-0.73),(1.047,-0.76),(1.029,-0.79),(1.016,-0.83),(1.008,-0.85),(0.994,-0.87),(0.978,-0.888),(0.978,-0.89),(1.128,-0.89)],
  [(1.128,-0.89),(0.978,-0.89),(0.978,-1.038),(0.985,-1.05),(0.988,-1.06),(0.989,-1.07),(0.988,-1.08),(0.985,-1.09),(0.978,-1.102),(0.978,-1.499),(1.128,-1.499)],
  [(1.145,1.22),(1.147,1.24),(1.151,1.25),(1.16,1.262),(1.18,1.271),(1.2,1.273),(1.22,1.273),(1.22,1.499),(1.128,1.5),(1.128,1.21),(1.145,1.21)],
  [(1.13,0.712),(1.15,0.737),(1.16,0.745),(1.18,0.751),(1.2,0.752),(1.21,0.75),(1.22,0.744),(1.22,1.09),(1.2,1.093),(1.19,1.097),(1.172,1.11),(1.16,1.126),(1.154,1.14),(1.15,1.16),(1.147,1.18),(1.145,1.21),(1.128,1.21),(1.128,0.711)],
  [(1.132,-0.26),(1.134,-0.25),(1.14,-0.238),(1.16,-0.218),(1.19,-0.198),(1.2,-0.194),(1.22,-0.191),(1.22,0.509),(1.21,0.506),(1.16,0.501),(1.128,0.496),(1.128,-0.27),(1.131,-0.27)],
  [(1.22,-0.296),(1.21,-0.301),(1.19,-0.307),(1.17,-0.309),(1.16,-0.308),(1.15,-0.304),(1.14,-0.297),(1.135,-0.29),(1.132,-0.28),(1.131,-0.27),(1.128,-0.27),(1.128,-0.43),(1.133,-0.45),(1.133,-0.49),(1.135,-0.51),(1.14,-0.527),(1.147,-0.54),(1.155,-0.55),(1.169,-0.56),(1.19,-0.568),(1.22,-0.573)],
  [(1.129,-0.88),(1.132,-0.84),(1.138,-0.81),(1.143,-0.8),(1.15,-0.791),(1.16,-0.786),(1.183,-0.78),(1.22,-0.775),(1.22,-0.629),(1.21,-0.628),(1.19,-0.63),(1.16,-0.637),(1.14,-0.647),(1.128,-0.658),(1.128,-0.89),(1.129,-0.89)],
  [(1.18,-1.499),(1.22,-1.499),(1.22,-1.032),(1.21,-1.033),(1.19,-1.032),(1.18,-1.03),(1.17,-1.026),(1.161,-1.02),(1.153,-1.01),(1.15,-1.004),(1.137,-0.96),(1.131,-0.93),(1.129,-0.91),(1.129,-0.89),(1.128,-0.89),(1.128,-1.499)],
  [(1.24,-0.191),(1.25,-0.193),(1.27,-0.202),(1.28,-0.211),(1.286,-0.22),(1.289,-0.23),(1.288,-0.24),(1.28,-0.251),(1.244,-0.28),(1.22,-0.296),(1.22,-0.573),(1.237,-0.57),(1.249,-0.56),(1.256,-0.54),(1.26,-0.51),(1.266,-0.48),(1.278,-0.46),(1.29,-0.448),(1.31,-0.433),(1.331,-0.424),(1.331,-0.254),(1.33,-0.25),(1.331,-0.24),(1.331,1.495),(1.22,1.499),(1.22,1.273),(1.24,1.269),(1.25,1.264),(1.26,1.253),(1.266,1.24),(1.271,1.21),(1.271,1.18),(1.269,1.16),(1.265,1.14),(1.258,1.12),(1.25,1.105),(1.24,1.095),(1.23,1.091),(1.22,1.09),(1.22,0.744),(1.23,0.734),(1.24,0.719),(1.266,0.67),(1.272,0.65),(1.278,0.62),(1.279,0.6),(1.278,0.57),(1.269,0.55),(1.262,0.54),(1.24,0.519),(1.22,0.509),(1.22,-0.191)],
  [(1.24,-0.774),(1.26,-0.774),(1.28,-0.779),(1.29,-0.786),(1.299,-0.8),(1.304,-0.82),(1.308,-0.86),(1.311,-0.94),(1.308,-0.98),(1.305,-0.99),(1.293,-1.01),(1.28,-1.021),(1.27,-1.025),(1.25,-1.03),(1.22,-1.032),(1.22,-1.499),(1.331,-1.5),(1.331,-0.65),(1.32,-0.658),(1.31,-0.661),(1.3,-0.662),(1.29,-0.661),(1.266,-0.65),(1.25,-0.639),(1.24,-0.634),(1.22,-0.629),(1.22,-0.775)],
  [(1.334,-0.23),(1.35,-0.2),(1.36,-0.188),(1.37,-0.181),(1.39,-0.178),(1.424,-0.18),(1.45,-0.174),(1.47,-0.175),(1.48,-0.178),(1.49,-0.185),(1.494,-0.19),(1.497,-0.2),(1.499,-0.215),(1.499,0.504),(1.496,0.51),(1.494,0.52),(1.495,0.55),(1.499,0.596),(1.499,1.02),(1.496,1.2),(1.491,1.3),(1.493,1.41),(1.495,1.43),(1.499,1.45),(1.499,1.47),(1.496,1.48),(1.489,1.49),(1.48,1.496),(1.47,1.499),(1.46,1.5),(1.41,1.494),(1.331,1.495),(1.331,-0.24)],
  [(1.47,-1.501),(1.48,-1.498),(1.49,-1.492),(1.499,-1.48),(1.499,-0.229),(1.49,-0.342),(1.486,-0.36),(1.48,-0.372),(1.47,-0.381),(1.45,-0.388),(1.43,-0.39),(1.41,-0.387),(1.4,-0.383),(1.39,-0.374),(1.384,-0.36),(1.376,-0.32),(1.372,-0.31),(1.366,-0.3),(1.338,-0.27),(1.332,-0.26),(1.331,-0.254),(1.331,-0.424),(1.34,-0.421),(1.35,-0.42),(1.36,-0.422),(1.37,-0.428),(1.377,-0.44),(1.38,-0.455),(1.38,-0.471),(1.375,-0.5),(1.374,-0.54),(1.371,-0.57),(1.358,-0.61),(1.347,-0.63),(1.331,-0.65),(1.331,-1.5),(1.42,-1.499),(1.45,-1.502)],
  [(1.499,1.45),(1.499,1.46),(1.499,1.469),(1.499,1.45)],
  [(1.499,0.6),(1.499,0.75),(1.5,0.76),(1.5,0.82),(1.499,0.83),(1.499,1.01)],
  [(1.499,-0.55),(1.502,-0.53),(1.51,-0.513),(1.52,-0.505),(1.53,-0.502),(1.58,-0.503),(1.6,-0.501),(1.65,-0.501),(1.69,-0.499),(1.73,-0.5),(1.73,0.49),(1.72,0.5),(1.68,0.497),(1.58,0.494),(1.53,0.488),(1.52,0.489),(1.51,0.493),(1.501,0.5),(1.499,0.504)],
  [(1.5,-1.476),(1.501,-1.47),(1.503,-1.46),(1.5,-1.43),(1.5,-1.429),(1.499,-1.42),(1.499,-1.15),(1.5,-1.14),(1.5,-0.77),(1.499,-0.76),(1.499,-0.68),(1.5,-0.67),(1.5,-0.64),(1.501,-0.63),(1.501,-0.6),(1.5,-0.59),(1.5,-0.588),(1.499,-0.58),(1.499,-0.563),(1.499,-1.48)])

lib.write_gds('POLYGONS.gds')
